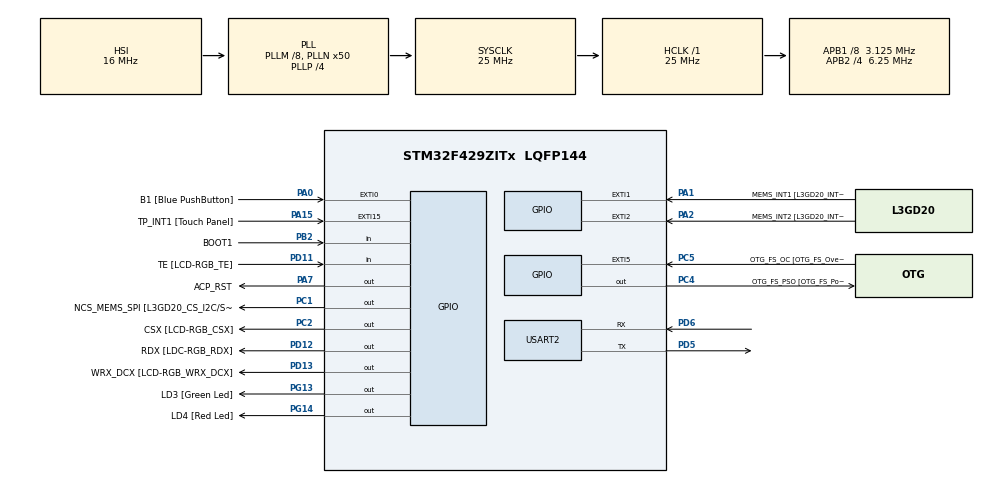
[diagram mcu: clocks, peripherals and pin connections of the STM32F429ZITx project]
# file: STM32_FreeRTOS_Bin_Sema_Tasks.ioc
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Mcu.Family=STM32F4
Mcu.Name=STM32F429ZITx
Mcu.Package=LQFP144
NVIC.PriorityGroup=NVIC_PRIORITYGROUP_4
NVIC.USART2_IRQn=true\:6\:0\:true\:false\:true\:true\:true
PA0/WKUP.GPIO_Label=B1 [Blue PushButton]
PA0/WKUP.GPIO_ModeDefaultEXTI=GPIO_MODE_EVT_RISING
PA0/WKUP.GPIO_PuPd=GPIO_NOPULL
PA0/WKUP.Signal=GPXTI0
PA1.GPIO_Label=MEMS_INT1 [L3GD20_INT1]
PA1.GPIO_ModeDefaultEXTI=GPIO_MODE_EVT_RISING
PA1.GPIO_PuPd=GPIO_NOPULL
PA1.Signal=GPXTI1
PA10.GPIO_Label=STLINK_TX [STM32F103CBT6_PA2]
PA10.Signal=USART1_RX
PA11.GPIO_Label=R4
PA11.GPIO_Mode=GPIO_MODE_AF_PP
PA11.GPIO_PuPd=GPIO_NOPULL
PA11.GPIO_Speed=GPIO_SPEED_FREQ_LOW
PA11.Signal=LTDC_R4
PA12.GPIO_Label=R5
PA12.GPIO_Mode=GPIO_MODE_AF_PP
PA12.GPIO_PuPd=GPIO_NOPULL
PA12.GPIO_Speed=GPIO_SPEED_FREQ_LOW
PA12.Signal=LTDC_R5
PA13.GPIO_Label=SWDIO
PA13.Signal=SYS_JTMS-SWDIO
PA14.GPIO_Label=SWCLK
PA14.Signal=SYS_JTCK-SWCLK
PA15.GPIO_Label=TP_INT1 [Touch Panel]
PA15.GPIO_ModeDefaultEXTI=GPIO_MODE_EVT_RISING
PA15.GPIO_PuPd=GPIO_NOPULL
PA15.Signal=GPXTI15
PA2.GPIO_Label=MEMS_INT2 [L3GD20_INT2]
PA2.GPIO_ModeDefaultEXTI=GPIO_MODE_EVT_RISING
PA2.GPIO_PuPd=GPIO_NOPULL
PA2.Signal=GPXTI2
PA3.GPIO_Label=B5
PA3.GPIO_Mode=GPIO_MODE_AF_PP
PA3.GPIO_PuPd=GPIO_NOPULL
PA3.GPIO_Speed=GPIO_SPEED_FREQ_LOW
PA3.Signal=LTDC_B5
PA4.GPIO_Label=VSYNC
PA4.GPIO_Mode=GPIO_MODE_AF_PP
PA4.GPIO_PuPd=GPIO_NOPULL
PA4.GPIO_Speed=GPIO_SPEED_FREQ_LOW
PA4.Signal=LTDC_VSYNC
PA6.GPIO_Label=G2
PA6.GPIO_Mode=GPIO_MODE_AF_PP
PA6.GPIO_PuPd=GPIO_NOPULL
PA6.GPIO_Speed=GPIO_SPEED_FREQ_LOW
PA6.Signal=LTDC_G2
PA7.GPIO_Label=ACP_RST
PA7.GPIO_Mode=GPIO_MODE_OUTPUT_PP
PA7.GPIO_PuPd=GPIO_NOPULL
PA7.GPIO_Speed=GPIO_SPEED_FREQ_LOW
PA7.Signal=GPIO_Output
PA8.GPIO_Label=I2C3_SCL [ACP/RF_SCL]
PA8.GPIO_Mode=GPIO_MODE_AF_OD
PA8.GPIO_PuPd=GPIO_NOPULL
PA8.GPIO_Speed=GPIO_SPEED_FREQ_LOW
PA8.Signal=I2C3_SCL
PA9.GPIO_Label=STLINK_RX [STM32F103CBT6_PA3]
PA9.Signal=USART1_TX
PB0.GPIO_Label=R3
PB0.GPIO_Mode=GPIO_MODE_AF_PP
PB0.GPIO_PuPd=GPIO_NOPULL
PB0.GPIO_Speed=GPIO_SPEED_FREQ_LOW
PB0.Signal=LTDC_R3
PB1.GPIO_Label=R6
PB1.GPIO_Mode=GPIO_MODE_AF_PP
PB1.GPIO_PuPd=GPIO_NOPULL
PB1.GPIO_Speed=GPIO_SPEED_FREQ_LOW
PB1.Signal=LTDC_R6
PB10.GPIO_Label=G4
PB10.GPIO_Mode=GPIO_MODE_AF_PP
PB10.GPIO_PuPd=GPIO_NOPULL
PB10.GPIO_Speed=GPIO_SPEED_FREQ_LOW
PB10.Signal=LTDC_G4
PB11.GPIO_Label=G5
PB11.GPIO_Mode=GPIO_MODE_AF_PP
PB11.GPIO_PuPd=GPIO_NOPULL
PB11.GPIO_Speed=GPIO_SPEED_FREQ_LOW
PB11.Signal=LTDC_G5
PB12.GPIO_Label=OTG_HS_ID
PB12.GPIO_Mode=GPIO_MODE_AF_PP
PB12.GPIO_PuPd=GPIO_NOPULL
PB12.GPIO_Speed=GPIO_SPEED_FREQ_LOW
PB12.Signal=USB_OTG_HS_ID
PB13.GPIO_Label=VBUS_HS
PB13.GPIO_Mode=GPIO_MODE_INPUT
PB13.GPIO_PuPd=GPIO_NOPULL
PB13.Signal=USB_OTG_HS_VBUS
PB14.GPIO_Label=OTG_HS_DM
PB14.GPIO_Mode=GPIO_MODE_AF_PP
PB14.GPIO_PuPd=GPIO_NOPULL
PB14.GPIO_Speed=GPIO_SPEED_FREQ_LOW
PB14.Signal=USB_OTG_HS_DM
PB15.GPIO_Label=OTG_HS_DP
PB15.GPIO_Mode=GPIO_MODE_AF_PP
PB15.GPIO_PuPd=GPIO_NOPULL
PB15.GPIO_Speed=GPIO_SPEED_FREQ_LOW
PB15.Signal=USB_OTG_HS_DP
PB2/BOOT1.GPIO_Label=BOOT1
PB2/BOOT1.GPIO_Mode=GPIO_MODE_INPUT
PB2/BOOT1.GPIO_PuPd=GPIO_NOPULL
PB2/BOOT1.Signal=GPIO_Input
PB5.GPIO_Label=SDCKE1
PB5.GPIO_Mode=GPIO_MODE_AF_PP
PB5.GPIO_PuPd=GPIO_NOPULL
PB5.GPIO_Speed=GPIO_SPEED_FREQ_VERY_HIGH
PB5.Signal=FMC_SDCKE1
PB6.GPIO_Label=SDNE1 [SDRAM_CS]
PB6.GPIO_Mode=GPIO_MODE_AF_PP
PB6.GPIO_PuPd=GPIO_NOPULL
PB6.GPIO_Speed=GPIO_SPEED_FREQ_VERY_HIGH
PB6.Signal=FMC_SDNE1
PB8.GPIO_Label=B6
PB8.GPIO_Mode=GPIO_MODE_AF_PP
PB8.GPIO_PuPd=GPIO_NOPULL
PB8.GPIO_Speed=GPIO_SPEED_FREQ_LOW
PB8.Signal=LTDC_B6
PB9.GPIO_Label=B7
PB9.GPIO_Mode=GPIO_MODE_AF_PP
PB9.GPIO_PuPd=GPIO_NOPULL
PB9.GPIO_Speed=GPIO_SPEED_FREQ_LOW
PB9.Signal=LTDC_B7
PC0.GPIO_Label=SDNWE
PC0.GPIO_Mode=GPIO_MODE_AF_PP
PC0.GPIO_PuPd=GPIO_NOPULL
PC0.GPIO_Speed=GPIO_SPEED_FREQ_VERY_HIGH
PC0.Signal=FMC_SDNWE
PC1.GPIO_Label=NCS_MEMS_SPI [L3GD20_CS_I2C/SPI]
PC1.GPIO_Mode=GPIO_MODE_OUTPUT_PP
PC1.GPIO_PuPd=GPIO_NOPULL
PC1.GPIO_Speed=GPIO_SPEED_FREQ_LOW
PC1.Signal=GPIO_Output
PC10.GPIO_Label=R2
PC10.GPIO_Mode=GPIO_MODE_AF_PP
PC10.GPIO_PuPd=GPIO_NOPULL
PC10.GPIO_Speed=GPIO_SPEED_FREQ_LOW
PC10.Signal=LTDC_R2
PC14/OSC32_IN.GPIO_Label=PC14-OSC32_IN
PC14/OSC32_IN.Signal=RCC_OSC32_IN
PC15/OSC32_OUT.GPIO_Label=PC15-OSC32_OUT
PC15/OSC32_OUT.Signal=RCC_OSC32_OUT
PC2.GPIO_Label=CSX [LCD-RGB_CSX]
PC2.GPIO_Mode=GPIO_MODE_OUTPUT_PP
PC2.GPIO_PuPd=GPIO_NOPULL
PC2.GPIO_Speed=GPIO_SPEED_FREQ_LOW
PC2.Signal=GPIO_Output
PC4.GPIO_Label=OTG_FS_PSO [OTG_FS_PowerSwitchOn]
PC4.GPIO_Mode=GPIO_MODE_OUTPUT_PP
PC4.GPIO_PuPd=GPIO_NOPULL
PC4.GPIO_Speed=GPIO_SPEED_FREQ_LOW
PC4.Signal=GPIO_Output
PC5.GPIO_Label=OTG_FS_OC [OTG_FS_OverCurrent]
PC5.GPIO_ModeDefaultEXTI=GPIO_MODE_EVT_RISING
PC5.Signal=GPXTI5
PC6.GPIO_Label=HSYNC
PC6.GPIO_Mode=GPIO_MODE_AF_PP
PC6.GPIO_PuPd=GPIO_NOPULL
PC6.GPIO_Speed=GPIO_SPEED_FREQ_LOW
PC6.Signal=LTDC_HSYNC
PC7.GPIO_Label=G6
PC7.GPIO_Mode=GPIO_MODE_AF_PP
PC7.GPIO_PuPd=GPIO_NOPULL
PC7.GPIO_Speed=GPIO_SPEED_FREQ_LOW
PC7.Signal=LTDC_G6
PC9.GPIO_Label=I2C3_SDA [ACP/RF_SDA]
PC9.GPIO_Mode=GPIO_MODE_AF_OD
PC9.GPIO_PuPd=GPIO_NOPULL
PC9.GPIO_Speed=GPIO_SPEED_FREQ_LOW
PC9.Signal=I2C3_SDA
PD0.GPIO_Label=D2
PD0.GPIO_Mode=GPIO_MODE_AF_PP
PD0.GPIO_PuPd=GPIO_NOPULL
PD0.GPIO_Speed=GPIO_SPEED_FREQ_VERY_HIGH
PD0.Signal=FMC_D2_DA2
PD1.GPIO_Label=D3
PD1.GPIO_Mode=GPIO_MODE_AF_PP
PD1.GPIO_PuPd=GPIO_NOPULL
PD1.GPIO_Speed=GPIO_SPEED_FREQ_VERY_HIGH
PD1.Signal=FMC_D3_DA3
PD10.GPIO_Label=D15
PD10.GPIO_Mode=GPIO_MODE_AF_PP
PD10.GPIO_PuPd=GPIO_NOPULL
PD10.GPIO_Speed=GPIO_SPEED_FREQ_VERY_HIGH
PD10.Signal=FMC_D15_DA15
PD11.GPIO_Label=TE [LCD-RGB_TE]
PD11.GPIO_Mode=GPIO_MODE_INPUT
PD11.GPIO_PuPd=GPIO_NOPULL
PD11.Signal=GPIO_Input
PD12.GPIO_Label=RDX [LDC-RGB_RDX]
PD12.GPIO_Mode=GPIO_MODE_OUTPUT_PP
PD12.GPIO_PuPd=GPIO_NOPULL
PD12.GPIO_Speed=GPIO_SPEED_FREQ_LOW
PD12.Signal=GPIO_Output
PD13.GPIO_Label=WRX_DCX [LCD-RGB_WRX_DCX]
PD13.GPIO_Mode=GPIO_MODE_OUTPUT_PP
PD13.GPIO_PuPd=GPIO_NOPULL
PD13.GPIO_Speed=GPIO_SPEED_FREQ_LOW
PD13.Signal=GPIO_Output
PD14.GPIO_Label=D0
PD14.GPIO_Mode=GPIO_MODE_AF_PP
PD14.GPIO_PuPd=GPIO_NOPULL
PD14.GPIO_Speed=GPIO_SPEED_FREQ_VERY_HIGH
PD14.Signal=FMC_D0_DA0
PD15.GPIO_Label=D1
PD15.GPIO_Mode=GPIO_MODE_AF_PP
PD15.GPIO_PuPd=GPIO_NOPULL
PD15.GPIO_Speed=GPIO_SPEED_FREQ_VERY_HIGH
PD15.Signal=FMC_D1_DA1
PD3.GPIO_Label=G7
PD3.GPIO_Mode=GPIO_MODE_AF_PP
PD3.GPIO_PuPd=GPIO_NOPULL
PD3.GPIO_Speed=GPIO_SPEED_FREQ_LOW
PD3.Signal=LTDC_G7
PD5.Mode=Asynchronous
PD5.Signal=USART2_TX
PD6.Mode=Asynchronous
PD6.Signal=USART2_RX
PD8.GPIO_Label=D13
PD8.GPIO_Mode=GPIO_MODE_AF_PP
PD8.GPIO_PuPd=GPIO_NOPULL
PD8.GPIO_Speed=GPIO_SPEED_FREQ_VERY_HIGH
PD8.Signal=FMC_D13_DA13
PD9.GPIO_Label=D14
PD9.GPIO_Mode=GPIO_MODE_AF_PP
PD9.GPIO_PuPd=GPIO_NOPULL
PD9.GPIO_Speed=GPIO_SPEED_FREQ_VERY_HIGH
PD9.Signal=FMC_D14_DA14
PE0.GPIO_Label=NBL0 [SDRAM_LDQM]
PE0.GPIO_Mode=GPIO_MODE_AF_PP
PE0.GPIO_PuPd=GPIO_NOPULL
PE0.GPIO_Speed=GPIO_SPEED_FREQ_VERY_HIGH
PE0.Signal=FMC_NBL0
PE1.GPIO_Label=NBL1 [SDRAM_UDQM]
PE1.GPIO_Mode=GPIO_MODE_AF_PP
PE1.GPIO_PuPd=GPIO_NOPULL
PE1.GPIO_Speed=GPIO_SPEED_FREQ_VERY_HIGH
PE1.Signal=FMC_NBL1
PE10.GPIO_Label=D7
PE10.GPIO_Mode=GPIO_MODE_AF_PP
PE10.GPIO_PuPd=GPIO_NOPULL
PE10.GPIO_Speed=GPIO_SPEED_FREQ_VERY_HIGH
PE10.Signal=FMC_D7_DA7
PE11.GPIO_Label=D8
PE11.GPIO_Mode=GPIO_MODE_AF_PP
PE11.GPIO_PuPd=GPIO_NOPULL
PE11.GPIO_Speed=GPIO_SPEED_FREQ_VERY_HIGH
PE11.Signal=FMC_D8_DA8
PE12.GPIO_Label=D9
PE12.GPIO_Mode=GPIO_MODE_AF_PP
PE12.GPIO_PuPd=GPIO_NOPULL
PE12.GPIO_Speed=GPIO_SPEED_FREQ_VERY_HIGH
PE12.Signal=FMC_D9_DA9
PE13.GPIO_Label=D10
PE13.GPIO_Mode=GPIO_MODE_AF_PP
PE13.GPIO_PuPd=GPIO_NOPULL
PE13.GPIO_Speed=GPIO_SPEED_FREQ_VERY_HIGH
PE13.Signal=FMC_D10_DA10
PE14.GPIO_Label=D11
PE14.GPIO_Mode=GPIO_MODE_AF_PP
PE14.GPIO_PuPd=GPIO_NOPULL
PE14.GPIO_Speed=GPIO_SPEED_FREQ_VERY_HIGH
PE14.Signal=FMC_D11_DA11
PE15.GPIO_Label=D12
PE15.GPIO_Mode=GPIO_MODE_AF_PP
PE15.GPIO_PuPd=GPIO_NOPULL
PE15.GPIO_Speed=GPIO_SPEED_FREQ_VERY_HIGH
PE15.Signal=FMC_D12_DA12
PE7.GPIO_Label=D4
PE7.GPIO_Mode=GPIO_MODE_AF_PP
PE7.GPIO_PuPd=GPIO_NOPULL
PE7.GPIO_Speed=GPIO_SPEED_FREQ_VERY_HIGH
PE7.Signal=FMC_D4_DA4
PE8.GPIO_Label=D5
PE8.GPIO_Mode=GPIO_MODE_AF_PP
PE8.GPIO_PuPd=GPIO_NOPULL
PE8.GPIO_Speed=GPIO_SPEED_FREQ_VERY_HIGH
PE8.Signal=FMC_D5_DA5
PE9.GPIO_Label=D6
PE9.GPIO_Mode=GPIO_MODE_AF_PP
PE9.GPIO_PuPd=GPIO_NOPULL
PE9.GPIO_Speed=GPIO_SPEED_FREQ_VERY_HIGH
PE9.Signal=FMC_D6_DA6
PF0.GPIO_Label=A0
PF0.GPIO_Mode=GPIO_MODE_AF_PP
PF0.GPIO_PuPd=GPIO_NOPULL
PF0.GPIO_Speed=GPIO_SPEED_FREQ_VERY_HIGH
PF0.Signal=FMC_A0
PF1.GPIO_Label=A1
PF1.GPIO_Mode=GPIO_MODE_AF_PP
PF1.GPIO_PuPd=GPIO_NOPULL
PF1.GPIO_Speed=GPIO_SPEED_FREQ_VERY_HIGH
PF1.Signal=FMC_A1
PF10.GPIO_Label=ENABLE [LCD-RGB_ENABLE]
PF10.GPIO_Mode=GPIO_MODE_AF_PP
PF10.GPIO_PuPd=GPIO_NOPULL
PF10.GPIO_Speed=GPIO_SPEED_FREQ_LOW
PF10.Signal=LTDC_DE
PF11.GPIO_Label=SDNRAS
PF11.GPIO_Mode=GPIO_MODE_AF_PP
PF11.GPIO_PuPd=GPIO_NOPULL
PF11.GPIO_Speed=GPIO_SPEED_FREQ_VERY_HIGH
PF11.Signal=FMC_SDNRAS
PF12.GPIO_Label=A6
PF12.GPIO_Mode=GPIO_MODE_AF_PP
PF12.GPIO_PuPd=GPIO_NOPULL
PF12.GPIO_Speed=GPIO_SPEED_FREQ_VERY_HIGH
PF12.Signal=FMC_A6
PF13.GPIO_Label=A7
PF13.GPIO_Mode=GPIO_MODE_AF_PP
PF13.GPIO_PuPd=GPIO_NOPULL
PF13.GPIO_Speed=GPIO_SPEED_FREQ_VERY_HIGH
PF13.Signal=FMC_A7
PF14.GPIO_Label=A8
PF14.GPIO_Mode=GPIO_MODE_AF_PP
PF14.GPIO_PuPd=GPIO_NOPULL
PF14.GPIO_Speed=GPIO_SPEED_FREQ_VERY_HIGH
PF14.Signal=FMC_A8
PF15.GPIO_Label=A9
PF15.GPIO_Mode=GPIO_MODE_AF_PP
PF15.GPIO_PuPd=GPIO_NOPULL
PF15.GPIO_Speed=GPIO_SPEED_FREQ_VERY_HIGH
PF15.Signal=FMC_A9
PF2.GPIO_Label=A2
PF2.GPIO_Mode=GPIO_MODE_AF_PP
PF2.GPIO_PuPd=GPIO_NOPULL
PF2.GPIO_Speed=GPIO_SPEED_FREQ_VERY_HIGH
PF2.Signal=FMC_A2
PF3.GPIO_Label=A3
PF3.GPIO_Mode=GPIO_MODE_AF_PP
PF3.GPIO_PuPd=GPIO_NOPULL
PF3.GPIO_Speed=GPIO_SPEED_FREQ_VERY_HIGH
PF3.Signal=FMC_A3
PF4.GPIO_Label=A4
PF4.GPIO_Mode=GPIO_MODE_AF_PP
PF4.GPIO_PuPd=GPIO_NOPULL
PF4.GPIO_Speed=GPIO_SPEED_FREQ_VERY_HIGH
PF4.Signal=FMC_A4
PF5.GPIO_Label=A5
PF5.GPIO_Mode=GPIO_MODE_AF_PP
PF5.GPIO_PuPd=GPIO_NOPULL
PF5.GPIO_Speed=GPIO_SPEED_FREQ_VERY_HIGH
PF5.Signal=FMC_A5
PF7.GPIO_Label=SPI5_SCK [L3GD20_SCL/SPC]
PF7.GPIO_Mode=GPIO_MODE_AF_PP
PF7.GPIO_PuPd=GPIO_NOPULL
PF7.GPIO_Speed=GPIO_SPEED_FREQ_LOW
PF7.Signal=SPI5_SCK
PF8.GPIO_Label=SPI5_MISO [L3GD20_SDO]
PF8.GPIO_Mode=GPIO_MODE_AF_PP
PF8.GPIO_PuPd=GPIO_NOPULL
PF8.GPIO_Speed=GPIO_SPEED_FREQ_LOW
PF8.Signal=SPI5_MISO
PF9.GPIO_Label=SPI5_MOSI [L3GD20_SDA/SDI/SDO]
PF9.GPIO_Mode=GPIO_MODE_AF_PP
PF9.GPIO_PuPd=GPIO_NOPULL
PF9.GPIO_Speed=GPIO_SPEED_FREQ_LOW
PF9.Signal=SPI5_MOSI
PG0.GPIO_Label=A10
PG0.GPIO_Mode=GPIO_MODE_AF_PP
PG0.GPIO_PuPd=GPIO_NOPULL
PG0.GPIO_Speed=GPIO_SPEED_FREQ_VERY_HIGH
PG0.Signal=FMC_A10
PG1.GPIO_Label=A11
PG1.GPIO_Mode=GPIO_MODE_AF_PP
PG1.GPIO_PuPd=GPIO_NOPULL
PG1.GPIO_Speed=GPIO_SPEED_FREQ_VERY_HIGH
PG1.Signal=FMC_A11
PG10.GPIO_Label=G3
PG10.GPIO_Mode=GPIO_MODE_AF_PP
PG10.GPIO_PuPd=GPIO_NOPULL
PG10.GPIO_Speed=GPIO_SPEED_FREQ_LOW
PG10.Signal=LTDC_G3
PG11.GPIO_Label=B3
PG11.GPIO_Mode=GPIO_MODE_AF_PP
PG11.GPIO_PuPd=GPIO_NOPULL
PG11.GPIO_Speed=GPIO_SPEED_FREQ_LOW
PG11.Signal=LTDC_B3
PG12.GPIO_Label=B4
PG12.GPIO_Mode=GPIO_MODE_AF_PP
PG12.GPIO_PuPd=GPIO_NOPULL
PG12.GPIO_Speed=GPIO_SPEED_FREQ_LOW
PG12.Signal=LTDC_B4
PG13.GPIO_Label=LD3 [Green Led]
PG13.GPIO_Mode=GPIO_MODE_OUTPUT_PP
PG13.GPIO_PuPd=GPIO_NOPULL
PG13.GPIO_Speed=GPIO_SPEED_FREQ_LOW
PG13.Signal=GPIO_Output
PG14.GPIO_Label=LD4 [Red Led]
PG14.GPIO_Mode=GPIO_MODE_OUTPUT_PP
PG14.GPIO_PuPd=GPIO_NOPULL
PG14.GPIO_Speed=GPIO_SPEED_FREQ_LOW
PG14.Signal=GPIO_Output
PG15.GPIO_Label=SDNCAS
PG15.GPIO_Mode=GPIO_MODE_AF_PP
PG15.GPIO_PuPd=GPIO_NOPULL
PG15.GPIO_Speed=GPIO_SPEED_FREQ_VERY_HIGH
PG15.Signal=FMC_SDNCAS
PG4.GPIO_Label=BA0
PG4.GPIO_Mode=GPIO_MODE_AF_PP
PG4.GPIO_PuPd=GPIO_NOPULL
PG4.GPIO_Speed=GPIO_SPEED_FREQ_VERY_HIGH
PG4.Signal=FMC_A14_BA0
PG5.GPIO_Label=BA1
PG5.GPIO_Mode=GPIO_MODE_AF_PP
PG5.GPIO_PuPd=GPIO_NOPULL
PG5.GPIO_Speed=GPIO_SPEED_FREQ_VERY_HIGH
PG5.Signal=FMC_A15_BA1
PG6.GPIO_Label=R7
PG6.GPIO_Mode=GPIO_MODE_AF_PP
PG6.GPIO_PuPd=GPIO_NOPULL
PG6.GPIO_Speed=GPIO_SPEED_FREQ_LOW
PG6.Signal=LTDC_R7
PG7.GPIO_Label=DOTCLK [LCT-RGB_DOTCLK]
PG7.GPIO_Mode=GPIO_MODE_AF_PP
PG7.GPIO_PuPd=GPIO_NOPULL
PG7.GPIO_Speed=GPIO_SPEED_FREQ_LOW
PG7.Signal=LTDC_CLK
PG8.GPIO_Label=SDCLK
PG8.GPIO_Mode=GPIO_MODE_AF_PP
PG8.GPIO_PuPd=GPIO_NOPULL
PG8.GPIO_Speed=GPIO_SPEED_FREQ_VERY_HIGH
PG8.Signal=FMC_SDCLK
PH0/OSC_IN.GPIO_Label=PH0-OSC_IN
PH0/OSC_IN.Signal=RCC_OSC_IN
PH1/OSC_OUT.GPIO_Label=PH1-OSC_OUT
PH1/OSC_OUT.Signal=RCC_OSC_OUT
ProjectManager.HeapSize=0x200
ProjectManager.StackSize=0x400
ProjectManager.TargetToolchain=STM32CubeIDE
RCC.48MHZClocksFreq_Value=14285714.285714285
RCC.AHBFreq_Value=25000000
RCC.APB1CLKDivider=RCC_HCLK_DIV8
RCC.APB1Freq_Value=3125000
RCC.APB1TimFreq_Value=6250000
RCC.APB2CLKDivider=RCC_HCLK_DIV4
RCC.APB2Freq_Value=6250000
RCC.APB2TimFreq_Value=12500000
RCC.CortexFreq_Value=25000000
RCC.HCLKFreq_Value=25000000
RCC.HSE_VALUE=8000000
RCC.HSI_VALUE=16000000
RCC.LSE_VALUE=32768
RCC.PLLM=8
RCC.PLLN=50
RCC.PLLP=RCC_PLLP_DIV4
RCC.PLLQ=7
RCC.SYSCLKFreq_VALUE=25000000
RCC.SYSCLKSource=RCC_SYSCLKSOURCE_PLLCLK
RCC.VCOOutputFreq_Value=100000000
SH.FMC_A0.0=FMC_A0
SH.FMC_A1.0=FMC_A1
SH.FMC_A10.0=FMC_A10
SH.FMC_A11.0=FMC_A11
SH.FMC_A14_BA0.0=FMC_BA0
SH.FMC_A15_BA1.0=FMC_BA1
SH.FMC_A2.0=FMC_A2
SH.FMC_A3.0=FMC_A3
SH.FMC_A4.0=FMC_A4
SH.FMC_A5.0=FMC_A5
SH.FMC_A6.0=FMC_A6
SH.FMC_A7.0=FMC_A7
SH.FMC_A8.0=FMC_A8
SH.FMC_A9.0=FMC_A9
SH.FMC_D0_DA0.0=FMC_D0
SH.FMC_D10_DA10.0=FMC_D10
SH.FMC_D11_DA11.0=FMC_D11
SH.FMC_D12_DA12.0=FMC_D12
SH.FMC_D13_DA13.0=FMC_D13
SH.FMC_D14_DA14.0=FMC_D14
SH.FMC_D15_DA15.0=FMC_D15
SH.FMC_D1_DA1.0=FMC_D1
SH.FMC_D2_DA2.0=FMC_D2
SH.FMC_D3_DA3.0=FMC_D3
SH.FMC_D4_DA4.0=FMC_D4
SH.FMC_D5_DA5.0=FMC_D5
SH.FMC_D6_DA6.0=FMC_D6
SH.FMC_D7_DA7.0=FMC_D7
SH.FMC_D8_DA8.0=FMC_D8
SH.FMC_D9_DA9.0=FMC_D9
SH.FMC_NBL0.0=FMC_NBL0
SH.FMC_NBL1.0=FMC_NBL1
SH.FMC_SDCLK.0=FMC_SDCLK
SH.FMC_SDNCAS.0=FMC_SDNCAS
SH.FMC_SDNRAS.0=FMC_SDNRAS
SH.FMC_SDNWE.0=FMC_SDNWE
USART2.VirtualMode=VM_ASYNC
board=STM32F429I-DISC1

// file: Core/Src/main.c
/* USER CODE BEGIN Header */
/**
  ******************************************************************************
  * @file           : main.c
  * @brief          : Main program body
  ******************************************************************************
  * @attention
  *
  * <h2><center>&copy; Copyright (c) 2021 STMicroelectronics.
  * All rights reserved.</center></h2>
  *
  * This software component is licensed by ST under BSD 3-Clause license,
  * the "License"; You may not use this file except in compliance with the
  * License. You may obtain a copy of the License at:
  *                        opensource.org/licenses/BSD-3-Clause
  *
  ******************************************************************************
  */
/* USER CODE END Header */
#include "main.h"

#include <stdio.h>
#include <stdlib.h>
#include <string.h>

/* USER CODE BEGIN Includes */

#include "FreeRTOS.h"
#include "task.h"
#include "semphr.h"
#include "queue.h"

#include "stm32f4xx.h"

/* USER CODE END Includes */

/* USER CODE BEGIN PD */

#define DWT_CTRL    (*(volatile uint32_t*)0xE0001000)

/* USER CODE END PD */

UART_HandleTypeDef huart2;

/* USER CODE BEGIN PV */

char usr_msg[250]={0};

TaskHandle_t xTaskHandleM=NULL;
TaskHandle_t xTaskHandleE=NULL;

/* Declare a variable of type xSemaphoreHandle.  This is used to reference the
semaphore that is used to synchronize both manager and employee task */
xSemaphoreHandle xWork;

/* this is the queue which manager uses to put the work ticket id */
xQueueHandle xWorkQueue;

/* USER CODE END PV */

void SystemClock_Config(void);
static void MX_GPIO_Init(void);
static void MX_USART2_UART_Init(void);
/* USER CODE BEGIN PFP */

//static void prvSetupHardware(void);
//void printmsg(char *msg);
//static void prvSetupUart(void);
//void prvSetupGpio(void);

static void vManagerTask( void *pvParameters );
static void vEmployeeTask( void *pvParameters );
/* USER CODE END PFP */

int main(void)
{

  /* MCU Configuration--------------------------------------------------------*/

  /* Reset of all peripherals, Initializes the Flash interface and the Systick. */
  HAL_Init();

  /* Configure the system clock */
  SystemClock_Config();

  /* Initialize all configured peripherals */
  MX_GPIO_Init();
  MX_USART2_UART_Init();
  /* USER CODE BEGIN 2 */

  //this is here to collect segger event time stamp
  	DWT->CTRL |= (1 << 0);//Enable CYCCNT in DWT_CTRL.

  //Start Recording
  	SEGGER_SYSVIEW_Conf();
  	SEGGER_SYSVIEW_Start();

  //	sprintf(usr_msg,"Demo of Binary semaphore usage between 2 Tasks \r\n");
  //	printmsg(usr_msg);

  	printf("Demo of Binary semaphore usage between 2 Tasks \r\n");

    /* Before a semaphore is used it must be explicitly created.
     * In this example a binary semaphore is created . */
    vSemaphoreCreateBinary( xWork );

	/* The queue is created to hold a maximum of 1 Element. */
    xWorkQueue = xQueueCreate( 1, sizeof( unsigned int ) );

    /* Check the semaphore and queue was created successfully. */
    if( (xWork != NULL) && (xWorkQueue != NULL) )
    {

		/* Create the 'Manager' task.  This is the task that will be synchronized with the Employee task.  The Manager task is created with a high priority  */
        xTaskCreate( vManagerTask, "Manager", 500, NULL, 3, NULL );

        /* Create a employee task with less priority than manager */
        xTaskCreate( vEmployeeTask, "Employee", 500, NULL, 1, NULL );

        /* Start the scheduler so the created tasks start executing. */
        vTaskStartScheduler();
    }

    //sprintf(usr_msg,"Queue/Sema create failed.. \r\n");
    //printmsg(usr_msg);
    printf("Queue/Sema create failed.. \r\n");

    /* If all is well we will never reach here as the scheduler will now be
    running the tasks.  If we do reach here then it is likely that there was
    insufficient heap memory available for a resource to be created. */

  /* USER CODE END 2 */

  /* Infinite loop */
  while (1)
  {

  }
}

void SystemClock_Config(void)
{
  RCC_OscInitTypeDef RCC_OscInitStruct = {0};
  RCC_ClkInitTypeDef RCC_ClkInitStruct = {0};

  /** Configure the main internal regulator output voltage
  */
  __HAL_RCC_PWR_CLK_ENABLE();
  __HAL_PWR_VOLTAGESCALING_CONFIG(PWR_REGULATOR_VOLTAGE_SCALE3);
  /** Initializes the RCC Oscillators according to the specified parameters
  * in the RCC_OscInitTypeDef structure.
  */
  RCC_OscInitStruct.OscillatorType = RCC_OSCILLATORTYPE_HSI;
  RCC_OscInitStruct.HSIState = RCC_HSI_ON;
  RCC_OscInitStruct.HSICalibrationValue = RCC_HSICALIBRATION_DEFAULT;
  RCC_OscInitStruct.PLL.PLLState = RCC_PLL_ON;
  RCC_OscInitStruct.PLL.PLLSource = RCC_PLLSOURCE_HSI;
  RCC_OscInitStruct.PLL.PLLM = 8;
  RCC_OscInitStruct.PLL.PLLN = 50;
  RCC_OscInitStruct.PLL.PLLP = RCC_PLLP_DIV4;
  RCC_OscInitStruct.PLL.PLLQ = 7;
  if (HAL_RCC_OscConfig(&RCC_OscInitStruct) != HAL_OK)
  {
    Error_Handler();
  }
  /** Initializes the CPU, AHB and APB buses clocks
  */
  RCC_ClkInitStruct.ClockType = RCC_CLOCKTYPE_HCLK|RCC_CLOCKTYPE_SYSCLK
                              |RCC_CLOCKTYPE_PCLK1|RCC_CLOCKTYPE_PCLK2;
  RCC_ClkInitStruct.SYSCLKSource = RCC_SYSCLKSOURCE_PLLCLK;
  RCC_ClkInitStruct.AHBCLKDivider = RCC_SYSCLK_DIV1;
  RCC_ClkInitStruct.APB1CLKDivider = RCC_HCLK_DIV8;
  RCC_ClkInitStruct.APB2CLKDivider = RCC_HCLK_DIV4;

  if (HAL_RCC_ClockConfig(&RCC_ClkInitStruct, FLASH_LATENCY_0) != HAL_OK)
  {
    Error_Handler();
  }
}

static void MX_USART2_UART_Init(void)
{

  huart2.Instance = USART2;
  huart2.Init.BaudRate = 115200;
  huart2.Init.WordLength = UART_WORDLENGTH_8B;
  huart2.Init.StopBits = UART_STOPBITS_1;
  huart2.Init.Parity = UART_PARITY_NONE;
  huart2.Init.Mode = UART_MODE_TX_RX;
  huart2.Init.HwFlowCtl = UART_HWCONTROL_NONE;
  huart2.Init.OverSampling = UART_OVERSAMPLING_16;
  if (HAL_UART_Init(&huart2) != HAL_OK)
  {
    Error_Handler();
  }

}

static void MX_GPIO_Init(void)
{
  GPIO_InitTypeDef GPIO_InitStruct = {0};

  /* GPIO Ports Clock Enable */
  __HAL_RCC_GPIOC_CLK_ENABLE();
  __HAL_RCC_GPIOF_CLK_ENABLE();
  __HAL_RCC_GPIOH_CLK_ENABLE();
  __HAL_RCC_GPIOA_CLK_ENABLE();
  __HAL_RCC_GPIOB_CLK_ENABLE();
  __HAL_RCC_GPIOG_CLK_ENABLE();
  __HAL_RCC_GPIOE_CLK_ENABLE();
  __HAL_RCC_GPIOD_CLK_ENABLE();

  /*Configure GPIO pin Output Level */
  HAL_GPIO_WritePin(GPIOC, NCS_MEMS_SPI_Pin|CSX_Pin|OTG_FS_PSO_Pin, GPIO_PIN_RESET);

  /*Configure GPIO pin Output Level */
  HAL_GPIO_WritePin(ACP_RST_GPIO_Port, ACP_RST_Pin, GPIO_PIN_RESET);

  /*Configure GPIO pin Output Level */
  HAL_GPIO_WritePin(GPIOD, RDX_Pin|WRX_DCX_Pin, GPIO_PIN_RESET);

  /*Configure GPIO pin Output Level */
  HAL_GPIO_WritePin(GPIOG, LD3_Pin|LD4_Pin, GPIO_PIN_RESET);

  /*Configure GPIO pins : A0_Pin A1_Pin A2_Pin A3_Pin
                           A4_Pin A5_Pin SDNRAS_Pin A6_Pin
                           A7_Pin A8_Pin A9_Pin */
  GPIO_InitStruct.Pin = A0_Pin|A1_Pin|A2_Pin|A3_Pin
                          |A4_Pin|A5_Pin|SDNRAS_Pin|A6_Pin
                          |A7_Pin|A8_Pin|A9_Pin;
  GPIO_InitStruct.Mode = GPIO_MODE_AF_PP;
  GPIO_InitStruct.Pull = GPIO_NOPULL;
  GPIO_InitStruct.Speed = GPIO_SPEED_FREQ_VERY_HIGH;
  GPIO_InitStruct.Alternate = GPIO_AF12_FMC;
  HAL_GPIO_Init(GPIOF, &GPIO_InitStruct);

  /*Configure GPIO pins : SPI5_SCK_Pin SPI5_MISO_Pin SPI5_MOSI_Pin */
  GPIO_InitStruct.Pin = SPI5_SCK_Pin|SPI5_MISO_Pin|SPI5_MOSI_Pin;
  GPIO_InitStruct.Mode = GPIO_MODE_AF_PP;
  GPIO_InitStruct.Pull = GPIO_NOPULL;
  GPIO_InitStruct.Speed = GPIO_SPEED_FREQ_LOW;
  GPIO_InitStruct.Alternate = GPIO_AF5_SPI5;
  HAL_GPIO_Init(GPIOF, &GPIO_InitStruct);

  /*Configure GPIO pin : ENABLE_Pin */
  GPIO_InitStruct.Pin = ENABLE_Pin;
  GPIO_InitStruct.Mode = GPIO_MODE_AF_PP;
  GPIO_InitStruct.Pull = GPIO_NOPULL;
  GPIO_InitStruct.Speed = GPIO_SPEED_FREQ_LOW;
  GPIO_InitStruct.Alternate = GPIO_AF14_LTDC;
  HAL_GPIO_Init(ENABLE_GPIO_Port, &GPIO_InitStruct);

  /*Configure GPIO pin : SDNWE_Pin */
  GPIO_InitStruct.Pin = SDNWE_Pin;
  GPIO_InitStruct.Mode = GPIO_MODE_AF_PP;
  GPIO_InitStruct.Pull = GPIO_NOPULL;
  GPIO_InitStruct.Speed = GPIO_SPEED_FREQ_VERY_HIGH;
  GPIO_InitStruct.Alternate = GPIO_AF12_FMC;
  HAL_GPIO_Init(SDNWE_GPIO_Port, &GPIO_InitStruct);

  /*Configure GPIO pins : NCS_MEMS_SPI_Pin CSX_Pin OTG_FS_PSO_Pin */
  GPIO_InitStruct.Pin = NCS_MEMS_SPI_Pin|CSX_Pin|OTG_FS_PSO_Pin;
  GPIO_InitStruct.Mode = GPIO_MODE_OUTPUT_PP;
  GPIO_InitStruct.Pull = GPIO_NOPULL;
  GPIO_InitStruct.Speed = GPIO_SPEED_FREQ_LOW;
  HAL_GPIO_Init(GPIOC, &GPIO_InitStruct);

  /*Configure GPIO pins : B1_Pin MEMS_INT1_Pin MEMS_INT2_Pin TP_INT1_Pin */
  GPIO_InitStruct.Pin = B1_Pin|MEMS_INT1_Pin|MEMS_INT2_Pin|TP_INT1_Pin;
  GPIO_InitStruct.Mode = GPIO_MODE_EVT_RISING;
  GPIO_InitStruct.Pull = GPIO_NOPULL;
  HAL_GPIO_Init(GPIOA, &GPIO_InitStruct);

  /*Configure GPIO pins : B5_Pin VSYNC_Pin G2_Pin R4_Pin
                           R5_Pin */
  GPIO_InitStruct.Pin = B5_Pin|VSYNC_Pin|G2_Pin|R4_Pin
                          |R5_Pin;
  GPIO_InitStruct.Mode = GPIO_MODE_AF_PP;
  GPIO_InitStruct.Pull = GPIO_NOPULL;
  GPIO_InitStruct.Speed = GPIO_SPEED_FREQ_LOW;
  GPIO_InitStruct.Alternate = GPIO_AF14_LTDC;
  HAL_GPIO_Init(GPIOA, &GPIO_InitStruct);

  /*Configure GPIO pin : ACP_RST_Pin */
  GPIO_InitStruct.Pin = ACP_RST_Pin;
  GPIO_InitStruct.Mode = GPIO_MODE_OUTPUT_PP;
  GPIO_InitStruct.Pull = GPIO_NOPULL;
  GPIO_InitStruct.Speed = GPIO_SPEED_FREQ_LOW;
  HAL_GPIO_Init(ACP_RST_GPIO_Port, &GPIO_InitStruct);

  /*Configure GPIO pin : OTG_FS_OC_Pin */
  GPIO_InitStruct.Pin = OTG_FS_OC_Pin;
  GPIO_InitStruct.Mode = GPIO_MODE_EVT_RISING;
  GPIO_InitStruct.Pull = GPIO_NOPULL;
  HAL_GPIO_Init(OTG_FS_OC_GPIO_Port, &GPIO_InitStruct);

  /*Configure GPIO pins : R3_Pin R6_Pin */
  GPIO_InitStruct.Pin = R3_Pin|R6_Pin;
  GPIO_InitStruct.Mode = GPIO_MODE_AF_PP;
  GPIO_InitStruct.Pull = GPIO_NOPULL;
  GPIO_InitStruct.Speed = GPIO_SPEED_FREQ_LOW;
  GPIO_InitStruct.Alternate = GPIO_AF9_LTDC;
  HAL_GPIO_Init(GPIOB, &GPIO_InitStruct);

  /*Configure GPIO pin : BOOT1_Pin */
  GPIO_InitStruct.Pin = BOOT1_Pin;
  GPIO_InitStruct.Mode = GPIO_MODE_INPUT;
  GPIO_InitStruct.Pull = GPIO_NOPULL;
  HAL_GPIO_Init(BOOT1_GPIO_Port, &GPIO_InitStruct);

  /*Configure GPIO pins : A10_Pin A11_Pin BA0_Pin BA1_Pin
                           SDCLK_Pin SDNCAS_Pin */
  GPIO_InitStruct.Pin = A10_Pin|A11_Pin|BA0_Pin|BA1_Pin
                          |SDCLK_Pin|SDNCAS_Pin;
  GPIO_InitStruct.Mode = GPIO_MODE_AF_PP;
  GPIO_InitStruct.Pull = GPIO_NOPULL;
  GPIO_InitStruct.Speed = GPIO_SPEED_FREQ_VERY_HIGH;
  GPIO_InitStruct.Alternate = GPIO_AF12_FMC;
  HAL_GPIO_Init(GPIOG, &GPIO_InitStruct);

  /*Configure GPIO pins : D4_Pin D5_Pin D6_Pin D7_Pin
                           D8_Pin D9_Pin D10_Pin D11_Pin
                           D12_Pin NBL0_Pin NBL1_Pin */
  GPIO_InitStruct.Pin = D4_Pin|D5_Pin|D6_Pin|D7_Pin
                          |D8_Pin|D9_Pin|D10_Pin|D11_Pin
                          |D12_Pin|NBL0_Pin|NBL1_Pin;
  GPIO_InitStruct.Mode = GPIO_MODE_AF_PP;
  GPIO_InitStruct.Pull = GPIO_NOPULL;
  GPIO_InitStruct.Speed = GPIO_SPEED_FREQ_VERY_HIGH;
  GPIO_InitStruct.Alternate = GPIO_AF12_FMC;
  HAL_GPIO_Init(GPIOE, &GPIO_InitStruct);

  /*Configure GPIO pins : G4_Pin G5_Pin B6_Pin B7_Pin */
  GPIO_InitStruct.Pin = G4_Pin|G5_Pin|B6_Pin|B7_Pin;
  GPIO_InitStruct.Mode = GPIO_MODE_AF_PP;
  GPIO_InitStruct.Pull = GPIO_NOPULL;
  GPIO_InitStruct.Speed = GPIO_SPEED_FREQ_LOW;
  GPIO_InitStruct.Alternate = GPIO_AF14_LTDC;
  HAL_GPIO_Init(GPIOB, &GPIO_InitStruct);

  /*Configure GPIO pins : OTG_HS_ID_Pin OTG_HS_DM_Pin OTG_HS_DP_Pin */
  GPIO_InitStruct.Pin = OTG_HS_ID_Pin|OTG_HS_DM_Pin|OTG_HS_DP_Pin;
  GPIO_InitStruct.Mode = GPIO_MODE_AF_PP;
  GPIO_InitStruct.Pull = GPIO_NOPULL;
  GPIO_InitStruct.Speed = GPIO_SPEED_FREQ_LOW;
  GPIO_InitStruct.Alternate = GPIO_AF12_OTG_HS_FS;
  HAL_GPIO_Init(GPIOB, &GPIO_InitStruct);

  /*Configure GPIO pin : VBUS_HS_Pin */
  GPIO_InitStruct.Pin = VBUS_HS_Pin;
  GPIO_InitStruct.Mode = GPIO_MODE_INPUT;
  GPIO_InitStruct.Pull = GPIO_NOPULL;
  HAL_GPIO_Init(VBUS_HS_GPIO_Port, &GPIO_InitStruct);

  /*Configure GPIO pins : D13_Pin D14_Pin D15_Pin D0_Pin
                           D1_Pin D2_Pin D3_Pin */
  GPIO_InitStruct.Pin = D13_Pin|D14_Pin|D15_Pin|D0_Pin
                          |D1_Pin|D2_Pin|D3_Pin;
  GPIO_InitStruct.Mode = GPIO_MODE_AF_PP;
  GPIO_InitStruct.Pull = GPIO_NOPULL;
  GPIO_InitStruct.Speed = GPIO_SPEED_FREQ_VERY_HIGH;
  GPIO_InitStruct.Alternate = GPIO_AF12_FMC;
  HAL_GPIO_Init(GPIOD, &GPIO_InitStruct);

  /*Configure GPIO pin : TE_Pin */
  GPIO_InitStruct.Pin = TE_Pin;
  GPIO_InitStruct.Mode = GPIO_MODE_INPUT;
  GPIO_InitStruct.Pull = GPIO_NOPULL;
  HAL_GPIO_Init(TE_GPIO_Port, &GPIO_InitStruct);

  /*Configure GPIO pins : RDX_Pin WRX_DCX_Pin */
  GPIO_InitStruct.Pin = RDX_Pin|WRX_DCX_Pin;
  GPIO_InitStruct.Mode = GPIO_MODE_OUTPUT_PP;
  GPIO_InitStruct.Pull = GPIO_NOPULL;
  GPIO_InitStruct.Speed = GPIO_SPEED_FREQ_LOW;
  HAL_GPIO_Init(GPIOD, &GPIO_InitStruct);

  /*Configure GPIO pins : R7_Pin DOTCLK_Pin B3_Pin */
  GPIO_InitStruct.Pin = R7_Pin|DOTCLK_Pin|B3_Pin;
  GPIO_InitStruct.Mode = GPIO_MODE_AF_PP;
  GPIO_InitStruct.Pull = GPIO_NOPULL;
  GPIO_InitStruct.Speed = GPIO_SPEED_FREQ_LOW;
  GPIO_InitStruct.Alternate = GPIO_AF14_LTDC;
  HAL_GPIO_Init(GPIOG, &GPIO_InitStruct);

  /*Configure GPIO pins : HSYNC_Pin G6_Pin R2_Pin */
  GPIO_InitStruct.Pin = HSYNC_Pin|G6_Pin|R2_Pin;
  GPIO_InitStruct.Mode = GPIO_MODE_AF_PP;
  GPIO_InitStruct.Pull = GPIO_NOPULL;
  GPIO_InitStruct.Speed = GPIO_SPEED_FREQ_LOW;
  GPIO_InitStruct.Alternate = GPIO_AF14_LTDC;
  HAL_GPIO_Init(GPIOC, &GPIO_InitStruct);

  /*Configure GPIO pin : I2C3_SDA_Pin */
  GPIO_InitStruct.Pin = I2C3_SDA_Pin;
  GPIO_InitStruct.Mode = GPIO_MODE_AF_OD;
  GPIO_InitStruct.Pull = GPIO_NOPULL;
  GPIO_InitStruct.Speed = GPIO_SPEED_FREQ_LOW;
  GPIO_InitStruct.Alternate = GPIO_AF4_I2C3;
  HAL_GPIO_Init(I2C3_SDA_GPIO_Port, &GPIO_InitStruct);

  /*Configure GPIO pin : I2C3_SCL_Pin */
  GPIO_InitStruct.Pin = I2C3_SCL_Pin;
  GPIO_InitStruct.Mode = GPIO_MODE_AF_OD;
  GPIO_InitStruct.Pull = GPIO_NOPULL;
  GPIO_InitStruct.Speed = GPIO_SPEED_FREQ_LOW;
  GPIO_InitStruct.Alternate = GPIO_AF4_I2C3;
  HAL_GPIO_Init(I2C3_SCL_GPIO_Port, &GPIO_InitStruct);

  /*Configure GPIO pins : STLINK_RX_Pin STLINK_TX_Pin */
  GPIO_InitStruct.Pin = STLINK_RX_Pin|STLINK_TX_Pin;
  GPIO_InitStruct.Mode = GPIO_MODE_AF_PP;
  GPIO_InitStruct.Pull = GPIO_NOPULL;
  GPIO_InitStruct.Speed = GPIO_SPEED_FREQ_VERY_HIGH;
  GPIO_InitStruct.Alternate = GPIO_AF7_USART1;
  HAL_GPIO_Init(GPIOA, &GPIO_InitStruct);

  /*Configure GPIO pin : G7_Pin */
  GPIO_InitStruct.Pin = G7_Pin;
  GPIO_InitStruct.Mode = GPIO_MODE_AF_PP;
  GPIO_InitStruct.Pull = GPIO_NOPULL;
  GPIO_InitStruct.Speed = GPIO_SPEED_FREQ_LOW;
  GPIO_InitStruct.Alternate = GPIO_AF14_LTDC;
  HAL_GPIO_Init(G7_GPIO_Port, &GPIO_InitStruct);

  /*Configure GPIO pins : G3_Pin B4_Pin */
  GPIO_InitStruct.Pin = G3_Pin|B4_Pin;
  GPIO_InitStruct.Mode = GPIO_MODE_AF_PP;
  GPIO_InitStruct.Pull = GPIO_NOPULL;
  GPIO_InitStruct.Speed = GPIO_SPEED_FREQ_LOW;
  GPIO_InitStruct.Alternate = GPIO_AF9_LTDC;
  HAL_GPIO_Init(GPIOG, &GPIO_InitStruct);

  /*Configure GPIO pins : LD3_Pin LD4_Pin */
  GPIO_InitStruct.Pin = LD3_Pin|LD4_Pin;
  GPIO_InitStruct.Mode = GPIO_MODE_OUTPUT_PP;
  GPIO_InitStruct.Pull = GPIO_NOPULL;
  GPIO_InitStruct.Speed = GPIO_SPEED_FREQ_LOW;
  HAL_GPIO_Init(GPIOG, &GPIO_InitStruct);

  /*Configure GPIO pins : SDCKE1_Pin SDNE1_Pin */
  GPIO_InitStruct.Pin = SDCKE1_Pin|SDNE1_Pin;
  GPIO_InitStruct.Mode = GPIO_MODE_AF_PP;
  GPIO_InitStruct.Pull = GPIO_NOPULL;
  GPIO_InitStruct.Speed = GPIO_SPEED_FREQ_VERY_HIGH;
  GPIO_InitStruct.Alternate = GPIO_AF12_FMC;
  HAL_GPIO_Init(GPIOB, &GPIO_InitStruct);

}

/* USER CODE BEGIN 4 */
void vManagerTask( void *pvParameters )
{

	 unsigned int xWorkTicketId;
	 portBASE_TYPE xStatus;

    /* The semaphore is created in the 'empty' state, meaning the semaphore must
	 first be given using the xSemaphoreGive() API function before it
	 can subsequently be taken (obtained) */
    xSemaphoreGive( xWork);

    for( ;; )
    {
        /* get a work ticket id(some random number) */
        xWorkTicketId = ( rand() & 0x1FF );

		/* Sends work ticket id to the work queue */
		xStatus = xQueueSend( xWorkQueue, &xWorkTicketId , portMAX_DELAY ); //Post an item on back of the queue

		if( xStatus != pdPASS )
		{
			//sprintf(usr_msg,"Could not send to the queue.\r\n");
		   // printmsg(usr_msg);
		    printf("Could not send to the queue.\r\n");

		}else
		{
			/* Manager notifying the employee by "Giving" semaphore */
			xSemaphoreGive( xWork);
			/* after assigning the work , just yield the processor because nothing to do */
			taskYIELD();

		}
    }
}

/*-----------------------------------------------------------*/

void EmployeeDoWork(unsigned char TicketId)
{
	/* implement the work according to TickedID */
	//sprintf(usr_msg,"Employee task : Working on Ticked id : %d\r\n",TicketId);
	//printmsg(usr_msg);
	printf("Employee task : Working on Ticked id : %d\r\n",TicketId);
	vTaskDelay(TicketId);
}

static void vEmployeeTask( void *pvParameters )
{

	unsigned char xWorkTicketId;
	portBASE_TYPE xStatus;
    /* As per most tasks, this task is implemented within an infinite loop. */
    for( ;; )
    {
		/* First Employee tries to take the semaphore, if it is available that means there is a task assigned by manager, otherwise employee task will be blocked */
		xSemaphoreTake( xWork, 0 );

		/* get the ticket id from the work queue */
		xStatus = xQueueReceive( xWorkQueue, &xWorkTicketId, 0 );

		if( xStatus == pdPASS )
		{
			/* employee may decode the xWorkTicketId in this function to do the work*/
			EmployeeDoWork(xWorkTicketId);
		}
		else
		{
			/* We did not receive anything from the queue.  This must be an error as this task should only run when the manager assigns at least one work. */
			//sprintf(usr_msg,"Employee task : Queue is empty , nothing to do.\r\n");
			//printmsg(usr_msg);
			printf("Employee task : Queue is empty , nothing to do.\r\n");
		}
    }
}
#if 0
void printmsg(char *msg)
{
	for(uint32_t i=0; i < strlen(msg); i++)
	{
		while ( USART_GetFlagStatus(USART2,USART_FLAG_TXE) != SET);
		USART_SendData(USART2,msg[i]);
	}

	while ( USART_GetFlagStatus(USART2,USART_FLAG_TC) != SET);

}
#endif

/* USER CODE END 4 */

void Error_Handler(void)
{
  __disable_irq();
  while (1)
  {
  }
}

/************************ (C) COPYRIGHT STMicroelectronics *****END OF FILE****/
